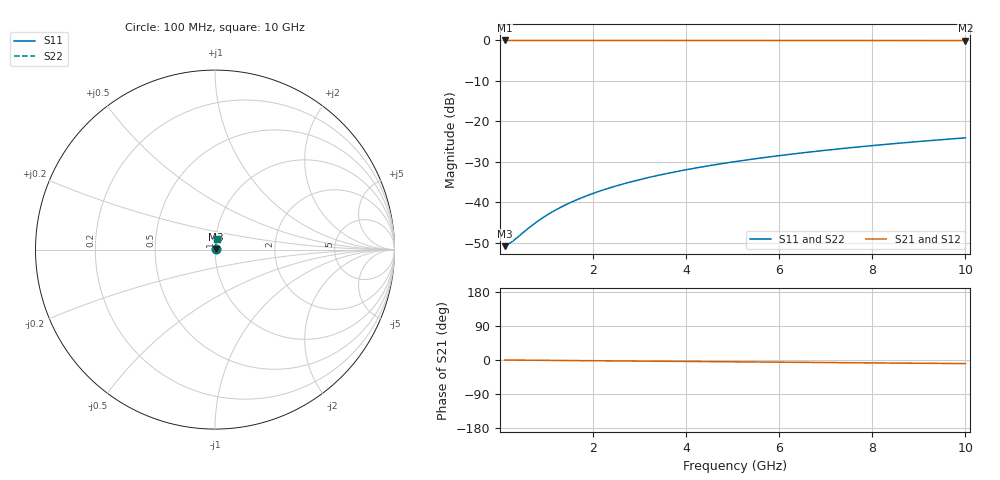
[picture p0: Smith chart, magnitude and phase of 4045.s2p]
# Hz S RI R 50.00
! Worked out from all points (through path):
!   100 points, 100 MHz to 10 GHz, reference 50 ohm
!   highest |S21| = -0.02 dB at 100 MHz (marker M1); lowest = 0.0 dB at 10 GHz (marker M2)
!   group delay of S21, straight-line fit = 2.64 ps
!   lowest |S11| = -50.8 dB at 100 MHz (marker M3), VSWR 1.01, Z = 50.3 + j0.0628 ohm
!   |S11| at or under -10 dB: start of sweep to end of sweep
!   |S22| runs from -50.8 to -24.1 dB; largest |S21 - S12| = 0
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1e8  0.00282 0.000625  0.9972 -0.00165  0.9972 -0.00165  0.00282 0.000625
2e8  0.00284 0.00125  0.9972 -0.0033  0.9972 -0.0033  0.00284 0.00125
3e8  0.00286 0.00187  0.9971 -0.00496  0.9971 -0.00496  0.00286 0.00187
7e8  0.00294 0.00437  0.997 -0.0116  0.997 -0.0116  0.00294 0.00437
8e8  0.00296 0.005  0.997 -0.0132  0.997 -0.0132  0.00296 0.005
1e9  0.00301 0.00625  0.9969 -0.0165  0.9969 -0.0165  0.00301 0.00625
1.2e9  0.00306 0.00749  0.9968 -0.0198  0.9968 -0.0198  0.00306 0.00749
1.4e9  0.00313 0.00874  0.9968 -0.0231  0.9968 -0.0231  0.00313 0.00874
1.6e9  0.0032 0.00999  0.9966 -0.0264  0.9966 -0.0264  0.0032 0.00999
1.8e9  0.00328 0.0112  0.9965 -0.0297  0.9965 -0.0297  0.00328 0.0112
2.1e9  0.00341 0.0131  0.9963 -0.0347  0.9963 -0.0347  0.00341 0.0131
2.5e9  0.00361 0.0156  0.996 -0.0413  0.996 -0.0413  0.00361 0.0156
2.9e9  0.00385 0.0181  0.9957 -0.0479  0.9957 -0.0479  0.00385 0.0181
3.4e9  0.00419 0.0212  0.9952 -0.0561  0.9952 -0.0561  0.00419 0.0212
3.8e9  0.00449 0.0237  0.9947 -0.0627  0.9947 -0.0627  0.00449 0.0237
4.2e9  0.00484 0.0261  0.9942 -0.0693  0.9942 -0.0693  0.00484 0.0261
5.1e9  0.00572 0.0317  0.9929 -0.0841  0.9929 -0.0841  0.00572 0.0317
5.9e9  0.00665 0.0366  0.9915 -0.0973  0.9915 -0.0973  0.00665 0.0366
6.7e9  0.0077 0.0415  0.9899 -0.1104  0.9899 -0.1104  0.0077 0.0415
7.5e9  0.00888 0.0463  0.9881 -0.1235  0.9881 -0.1235  0.00888 0.0463
8.4e9  0.0104 0.0517  0.9858 -0.1382  0.9858 -0.1382  0.0104 0.0517
1e10  0.0134 0.0612  0.9812 -0.1642  0.9812 -0.1642  0.0134 0.0612
